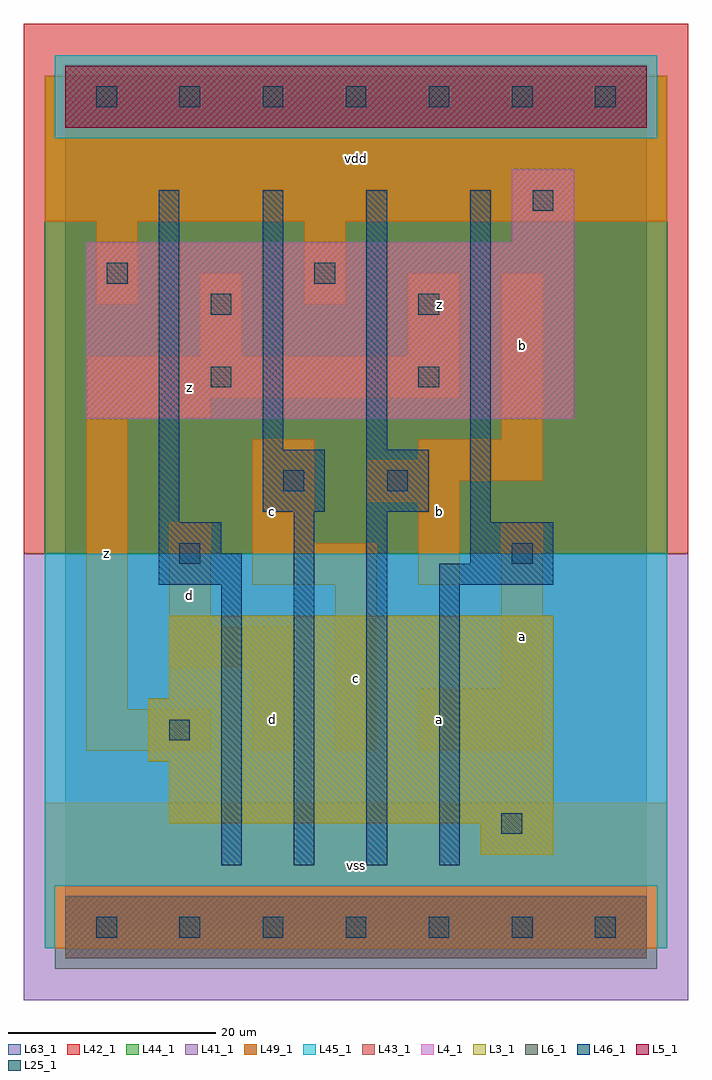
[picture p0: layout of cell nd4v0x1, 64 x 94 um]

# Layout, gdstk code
import gdstk
lib = gdstk.Library(unit=1e-6, precision=1e-09)
def R(c, l, rs):  # rectangles x0, y0, x1, y1
    for r in rs: c.add(gdstk.rectangle(r[:2], r[2:], *l))
def A(c, l, x, y, w, h, nx, ny, dx, dy):  # array of equal rectangles
    R(c, l, [(x+i*dx, y+j*dy, x+i*dx+w, y+j*dy+h) for i in range(nx) for j in range(ny)])
L3_1 = (3, 1)
L4_1 = (4, 1)
L5_1 = (5, 1)
L6_1 = (6, 1)
L25_1 = (25, 1)
L41_1 = (41, 1)
L42_1 = (42, 1)
L43_1 = (43, 1)
L44_1 = (44, 1)
L45_1 = (45, 1)
L46_1 = (46, 1)
L49_1 = (49, 1)
L63_1 = (63, 1)

nd4v0x1 = lib.new_cell('nd4v0x1')
R(nd4v0x1, L3_1, [(40,7,47,10), (10,10,47,16), (8,16,47,22), (10,22,47,30)])
R(nd4v0x1, L4_1, [(2,49,49,66), (43,66,49,73)])
R(nd4v0x1, L5_1, [(0,77,56,83)])
R(nd4v0x1, L6_1, [(0,-3,56,3), (0,-3,56,3)])
A(nd4v0x1, L25_1, 3, -1, 2, 2, 7, 2, 8, 80)
R(nd4v0x1, L25_1, [(42,9,44,11), (10,18,12,20), (11,35,13,37), (43,35,45,37), (21,42,23,44), (31,42,33,44), (14,52,16,54), (34,52,36,54), (14,59,16,61), (34,59,36,61), (4,62,6,64), (24,62,26,64), (45,69,47,71)])
R(nd4v0x1, L41_1, [(-4,-7,60,36)])
R(nd4v0x1, L42_1, [(-4,36,60,87)])
R(nd4v0x1, L43_1, [(0,-3,56,3), (40,7,47,10), (10,10,47,16), (8,16,47,22), (10,22,47,30), (2,49,49,66), (43,66,49,73), (0,77,56,83)])
R(nd4v0x1, L44_1, [(-1,-4,57,4), (-2,36,58,76), (-2,76,-1,82), (57,76,58,82)])
R(nd4v0x1, L45_1, [(-2,-2,-1,4), (57,-2,58,4), (-2,4,58,36), (-1,76,57,84)])
R(nd4v0x1, L46_1, [(15,6,17,33), (22,6,24,40), (29,6,31,40), (36,6,38,33), (9,33,17,36), (36,33,47,35), (39,35,47,39), (9,36,15,39), (9,39,11,71), (39,39,41,71), (19,40,25,46), (29,40,35,46), (19,46,21,71), (29,46,31,71)])
R(nd4v0x1, L49_1, [(-2,-2,58,12), (2,17,14,21), (18,17,22,25), (26,17,30,33), (34,17,46,23), (2,21,6,49), (42,23,46,39), (10,25,22,29), (10,29,14,39), (18,33,30,37), (34,33,38,41), (18,37,24,47), (29,41,38,43), (29,43,46,45), (34,45,46,47), (42,47,46,63), (2,49,14,51), (2,51,38,55), (13,55,17,63), (33,55,38,63), (3,60,7,68), (23,60,27,68), (-2,68,58,82)])
R(nd4v0x1, L63_1, [(0,0,56,80)])
nd4v0x1.add(gdstk.Label('z', (4,36), layer=49, texttype=1))
nd4v0x1.add(gdstk.Label('d', (12,32), layer=49, texttype=1))
nd4v0x1.add(gdstk.Label('z', (12,52), layer=49, texttype=1))
nd4v0x1.add(gdstk.Label('vss', (28,6), layer=49, texttype=1))
nd4v0x1.add(gdstk.Label('d', (20,20), layer=49, texttype=1))
nd4v0x1.add(gdstk.Label('c', (28,24), layer=49, texttype=1))
nd4v0x1.add(gdstk.Label('c', (20,40), layer=49, texttype=1))
nd4v0x1.add(gdstk.Label('vdd', (28,74), layer=49, texttype=1))
nd4v0x1.add(gdstk.Label('a', (36,20), layer=49, texttype=1))
nd4v0x1.add(gdstk.Label('a', (44,28), layer=49, texttype=1))
nd4v0x1.add(gdstk.Label('b', (36,40), layer=49, texttype=1))
nd4v0x1.add(gdstk.Label('z', (36,60), layer=49, texttype=1))
nd4v0x1.add(gdstk.Label('b', (44,56), layer=49, texttype=1))

lib.write_gds('nd4v0x1.gds')
